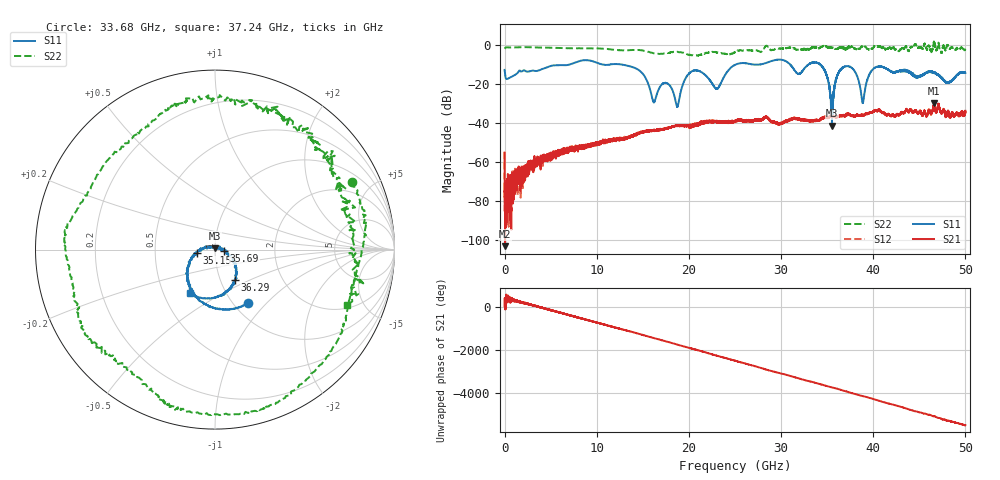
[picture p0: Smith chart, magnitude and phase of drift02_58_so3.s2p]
!Created with skrf (http://scikit-rf.org).
# Hz S RI R 50.0
!freq ReS11 ImS11 ReS21 ImS21 ReS12 ImS12 ReS22 ImS22
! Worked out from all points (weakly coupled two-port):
!   10001 points, 300 kHz to 50 GHz, reference 50 ohm
!   highest |S21| = -29.81 dB at 46.6 GHz (marker M1); lowest = -102.9 dB at 55.3 MHz (marker M2)
!   lowest |S11| = -41.4 dB at 35.53 GHz (marker M3), VSWR 1.02, Z = 50.2 + j0.826 ohm
!   |S11| at or under -10 dB: start of sweep to 7.177 GHz; 12.36 GHz to 25.17 GHz (12.81 GHz wide, 68.3 % of centre); 34.21 GHz to end of sweep (the widest 3 of 18)
!   |S22| runs from -5.7 to 2.1 dB; largest |S21 - S12| = 0.0035
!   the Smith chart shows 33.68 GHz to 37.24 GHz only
!   S11 on the Smith chart (normalised r, x): 33.68 GHz: 1.15, -0.79; 35.15 GHz: 0.81, -0.03; 35.69 GHz: 1.10, -0.01; 36.29 GHz: 1.17, -0.41; 37.24 GHz: 0.68, -0.36
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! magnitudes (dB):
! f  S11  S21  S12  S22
! 300 kHz  -12.9  -55.2  -54.7  -2.1
! 55.3 MHz  -15.4  -102.9  -83.1  -1.6
! 275.3 MHz  -17.6  -77.2  -74.6  -1.4
! 3.565 GHz  -13.4  -58.3  -58.7  -1.5
! 8.335 GHz  -8.2  -52.4  -52.2  -1.9
! 16.67 GHz  -23.4  -43.6  -43.6  -4.7
! 18.74 GHz  -31.7  -41.2  -41.5  -3.7
! 20.25 GHz  -13.9  -41.3  -41.5  -5.5
! 23.04 GHz  -22.5  -39.2  -39.4  -4.1
! 25 GHz  -10.3  -39.0  -39.0  -3.9
! 33.34 GHz  -9.3  -38.9  -38.8  -1.6
! 33.68 GHz  -9.1  -38.8  -38.6  -1.4
! 35.15 GHz  -19.7  -37.3  -37.5  -1.7
! 35.53 GHz  -41.4  -36.8  -36.7  -1.7
! 35.69 GHz  -26.0  -36.9  -36.8  -1.6
! 36.29 GHz  -13.9  -36.5  -36.4  -1.7
! 37.24 GHz  -11.0  -35.5  -35.8  -2.0
! 38.86 GHz  -29.8  -35.9  -36.1  -1.3
! 39.96 GHz  -12.7  -34.4  -34.4  -1.8
! 41.67 GHz  -12.9  -35.8  -35.5  -1.9
! 46.6 GHz  -14.3  -29.8  -30.1  1.9
! 50 GHz  -14.5  -33.8  -34.4  -2.7
